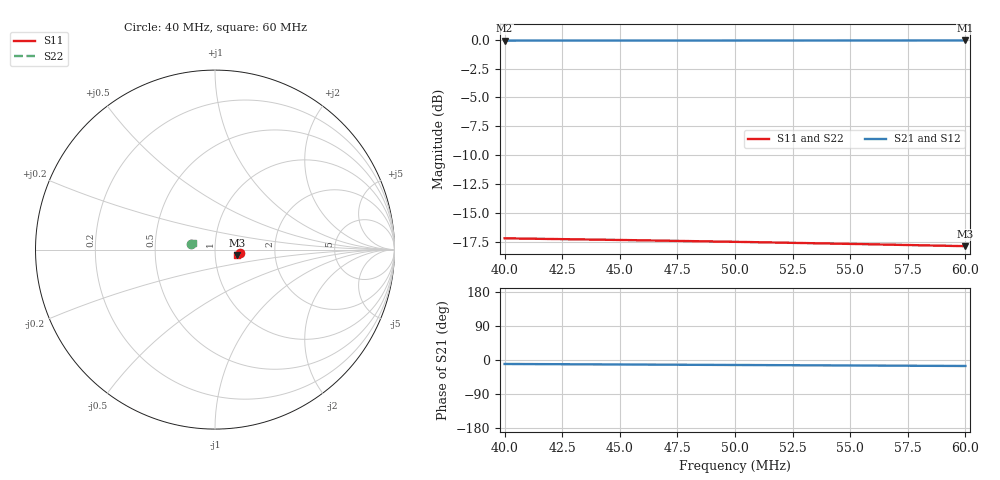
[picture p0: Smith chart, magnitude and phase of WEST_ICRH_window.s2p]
! Touchstone file from project WEST_ICRH_final_bridge_impedance-trans
! Exported from HFSS 15.0.3
!Data is not renormalized
# GHZ S MA
! Modal data exported
! Port[1] = 1:1
! Port[2] = 2:1
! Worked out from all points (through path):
!   201 points, 40 MHz to 60 MHz, reference per port
!   highest |S21| = -0.07 dB at 60 MHz (marker M1); lowest = -0.1 dB at 40 MHz (marker M2)
!   group delay of S21, straight-line fit = 734 ps
!   lowest |S11| = -17.8 dB at 60 MHz (marker M3), VSWR 1.29
!   |S11| at or under -10 dB: start of sweep to end of sweep
!   |S22| runs from -17.8 to -17.2 dB; largest |S21 - S12| = 3.6e-15
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0.04  0.1386 -8.7  0.9904 -10.5  0.9904 -10.5  0.1386 167.7
! Gamma ! -0 0.838338008780534 -0 0.838338008780985
! Port Impedance 29.738965038445 0 40.0095141675495 0
0.0409  0.1382 -8.9  0.9904 -10.7  0.9904 -10.7  0.1382 167.5
0.0417  0.1378 -9.1  0.9905 -11.0  0.9905 -11.0  0.1378 167.2
0.0426  0.1374 -9.4  0.9905 -11.2  0.9905 -11.2  0.1374 167.0
0.0434  0.1371 -9.6  0.9906 -11.4  0.9906 -11.4  0.1371 166.8
0.0443  0.1366 -9.8  0.9906 -11.6  0.9906 -11.6  0.1366 166.5
0.0451  0.1363 -10.0  0.9907 -11.8  0.9907 -11.8  0.1363 166.3
0.0467  0.1355 -10.4  0.9908 -12.3  0.9908 -12.3  0.1355 165.9
0.0476  0.135 -10.7  0.9908 -12.5  0.9908 -12.5  0.135 165.7
0.0484  0.1346 -10.9  0.9909 -12.7  0.9909 -12.7  0.1346 165.4
0.05  0.1338 -11.3  0.991 -13.1  0.991 -13.1  0.1338 165.0
0.0509  0.1333 -11.6  0.9911 -13.4  0.9911 -13.4  0.1333 164.8
0.0517  0.1329 -11.8  0.9911 -13.6  0.9911 -13.6  0.1329 164.6
0.0526  0.1324 -12.0  0.9912 -13.8  0.9912 -13.8  0.1324 164.4
0.0534  0.132 -12.3  0.9913 -14.0  0.9913 -14.0  0.132 164.2
0.0543  0.1315 -12.5  0.9913 -14.3  0.9913 -14.3  0.1315 164.0
0.0551  0.131 -12.7  0.9914 -14.5  0.9914 -14.5  0.131 163.8
0.0567  0.1301 -13.2  0.9915 -14.9  0.9915 -14.9  0.1301 163.4
0.0576  0.1296 -13.5  0.9916 -15.2  0.9916 -15.2  0.1296 163.2
0.0584  0.1291 -13.7  0.9916 -15.4  0.9916 -15.4  0.1291 163.0
0.0592  0.1286 -14.0  0.9917 -15.6  0.9917 -15.6  0.1286 162.8
0.06  0.1282 -14.2  0.9918 -15.8  0.9918 -15.8  0.1282 162.6
